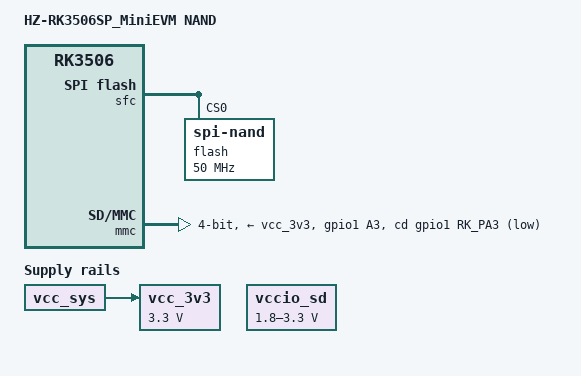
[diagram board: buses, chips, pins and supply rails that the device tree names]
// SPDX-License-Identifier: (GPL-2.0+ OR MIT)
/*
 * Copyright (c) 2025 HZHY Electronics Co., Ltd.
 * HZ-RK3506SP MiniEVM — SPI-NAND boot variant (SD card slot).
 */

/dts-v1/;

#include "HZ-RK3506SP_MiniEVM.dtsi"
#include "HZ-RK3506SP_MiniEVM_HDMI.dtsi"

/ {
	model = "HZ-RK3506SP_MiniEVM NAND";
	compatible = "rockchip,rk3506-evb1-v10", "rockchip,rk3506";
	chosen {
		bootargs = "earlycon=uart8250,mmio32,0xff0a0000 console=ttyS0,1500000 ubi.mtd=5 root=ubi0:rootfs rw rootfstype=ubifs rootwait net.ifnames=0";
	};
	/delete-node/ sdio-pwrseq;
	vcc_3v3: vcc-3v3 {
		compatible = "regulator-fixed";
		regulator-name = "vcc_3v3";
		regulator-always-on;
		regulator-boot-on;
		regulator-min-microvolt = <3300000>;
		regulator-max-microvolt = <3300000>;
		vin-supply = <&vcc_sys>;
	};
	vccio_sd: vccio-sd-regulator {
		compatible = "regulator-gpio";
		regulator-name = "vccio-sd-regulator";
		gpio = <&gpio4 RK_PB2 GPIO_ACTIVE_HIGH>;
		pinctrl-names = "default";
		pinctrl-0 = <&vccio_sd_gpio>;
		regulator-min-microvolt = <1800000>;
		regulator-max-microvolt = <3300000>;
		gpios-states = <0>;
		states = <3300000 0x1>, <1800000 0x0>;
	};
};

&sfc {
	status = "okay";
	flash@0 {
		compatible = "spi-nand";
		reg = <0>;
		spi-max-frequency = <50000000>;
		spi-rx-bus-width = <4>;
		spi-tx-bus-width = <1>;
	};
};

&mmc {
	/delete-property/ no-sd;
	/delete-property/ ignore-pm-notify;
	/delete-property/ keep-power-in-suspend;
	/delete-property/ non-removable;
	/delete-property/ mmc-pwrseq;
	cap-mmc-highspeed;
	cap-sd-highspeed;
	sd-uhs-sdr104;
	bus-width = <4>;
	no-sdio;
	no-mmc;
	cd-gpios = <&gpio1 RK_PA3 GPIO_ACTIVE_LOW>;
	disable-wp;
	pinctrl-names = "default";
	pinctrl-0 = <&sdmmc_clk_pins &sdmmc_cmd_pins &sdmmc_bus4_pins &sd_det>;
	vmmc-supply = <&vcc_3v3>;
	vqmmc-supply = <&vccio_sd>;
	status = "okay";
};

&pinctrl {
	sdmmc {
		vccio_sd_gpio: vccio-sd-gpio {
			rockchip,pins = <4 RK_PB2 RK_FUNC_GPIO &pcfg_pull_none>;
		};
		sd_det: sd-det {
			rockchip,pins = <1 RK_PA3 RK_FUNC_GPIO &pcfg_pull_up>;
		};
	};
};
